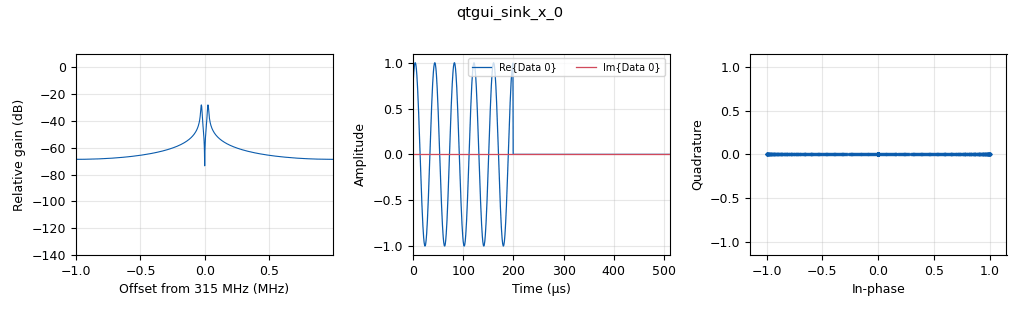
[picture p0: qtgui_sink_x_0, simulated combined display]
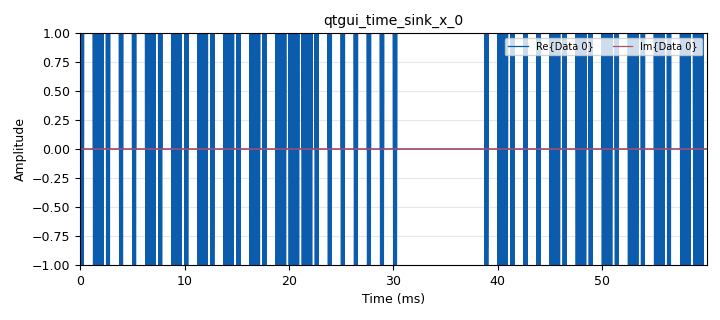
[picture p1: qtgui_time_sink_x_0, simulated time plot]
options:
  parameters:
    category: Custom
    generate_options: qt_gui
    id: transmit
    output_language: python
  states: {}

blocks:
- name: baseband_freq
  id: variable
  parameters:
    value: '800'
  states: {}
- name: carrier_freq
  id: variable
  parameters:
    value: 315e6
  states: {}
- name: packet
  id: variable
  parameters:
    value: '"0100010101010101110000000"'
  states: {}
- name: samp_rate
  id: variable
  parameters:
    value: 2e6
  states: {}
- name: samples_per_symbol
  id: variable
  parameters:
    value: int (samp_rate / baseband_freq)
  states: {}
- name: spacing
  id: variable
  parameters:
    value: '6'
  states: {}
- name: analog_sig_source_x_0
  id: analog_sig_source_x
  parameters:
    amp: '1'
    freq: baseband_freq*32
    offset: '0'
    phase: '0'
    samp_rate: samp_rate
    type: float
    waveform: analog.GR_COS_WAVE
  states: {}
- name: blocks_float_to_complex_0
  id: blocks_float_to_complex
  parameters: {}
  states: {}
- name: blocks_moving_average_xx_0
  id: blocks_moving_average_xx
  parameters:
    length: int(samples_per_symbol / 4)
    max_iter: '4000'
    scale: '1'
    type: float
  states: {}
- name: blocks_multiply_xx_0
  id: blocks_multiply_xx
  parameters:
    type: float
  states: {}
- name: blocks_throttle_0
  id: blocks_throttle
  parameters:
    samples_per_second: samp_rate
    type: complex
  states: {}
- name: blocks_uchar_to_float_0
  id: blocks_uchar_to_float
  parameters: {}
  states: {}
- name: blocks_unpack_k_bits_bb_0
  id: blocks_unpack_k_bits_bb
  parameters:
    k: '4'
  states: {}
- name: blocks_vector_source_x_0
  id: blocks_vector_source_x
  parameters:
    repeat: 'True'
    type: byte
    vector: '[ int (x) for x in packet ] + [ 2 ] * spacing'
  states: {}
- name: digital_map_bb_0
  id: digital_map_bb
  parameters:
    map: '[0x8, 0xE, 0x0]'
  states: {}
- name: osmosdr_sink_0
  id: osmosdr_sink
  parameters:
    args: ''
    bb_gain0: '20'
    freq0: carrier_freq
    gain0: '14'
    if_gain0: '35'
    sample_rate: samp_rate
    sync: sync
    type: fc32
  states: {}
- name: qtgui_sink_x_0
  id: qtgui_sink_x
  parameters:
    bw: samp_rate
    fc: carrier_freq
    fftsize: '1024'
    showports: 'True'
    showrf: 'True'
    type: complex
    wintype: firdes.WIN_BLACKMAN_hARRIS
  states: {}
- name: qtgui_time_sink_x_0
  id: qtgui_time_sink_x
  parameters:
    ctrlpanel: 'True'
    label1: ''
    label2: ''
    size: '120000'
    srate: samp_rate
    type: complex
  states: {}
- name: rational_resampler_xxx_0
  id: rational_resampler_xxx
  parameters:
    decim: '1'
    fbw: '4'
    interp: int(samples_per_symbol / 4)
    taps: '1'
    type: fff
  states: {}

connections:
- [analog_sig_source_x_0, '0', blocks_multiply_xx_0, '1']
- [blocks_float_to_complex_0, '0', blocks_throttle_0, '0']
- [blocks_float_to_complex_0, '0', osmosdr_sink_0, '0']
- [blocks_moving_average_xx_0, '0', blocks_multiply_xx_0, '0']
- [blocks_multiply_xx_0, '0', blocks_float_to_complex_0, '0']
- [blocks_throttle_0, '0', qtgui_sink_x_0, '0']
- [blocks_throttle_0, '0', qtgui_time_sink_x_0, '0']
- [blocks_uchar_to_float_0, '0', rational_resampler_xxx_0, '0']
- [blocks_unpack_k_bits_bb_0, '0', blocks_uchar_to_float_0, '0']
- [blocks_vector_source_x_0, '0', digital_map_bb_0, '0']
- [digital_map_bb_0, '0', blocks_unpack_k_bits_bb_0, '0']
- [rational_resampler_xxx_0, '0', blocks_moving_average_xx_0, '0']

metadata:
  file_format: 1
